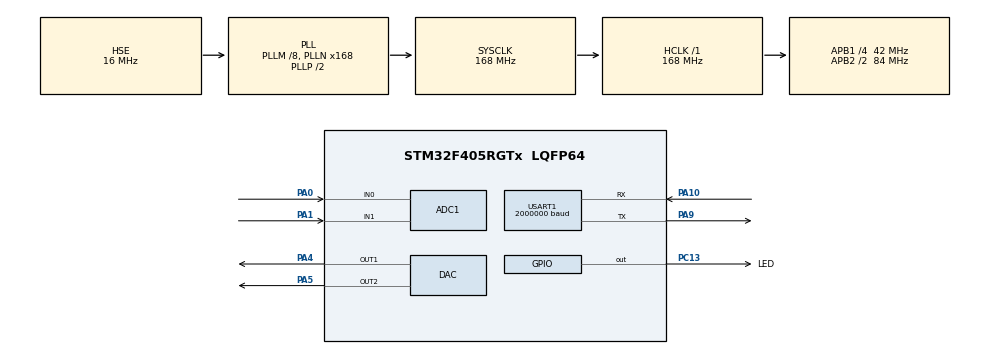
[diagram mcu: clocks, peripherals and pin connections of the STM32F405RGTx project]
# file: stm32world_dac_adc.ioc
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ADC1.Channel-0\#ChannelRegularConversion=ADC_CHANNEL_0
ADC1.ExternalTrigConv=ADC_EXTERNALTRIGCONV_T8_TRGO
ADC1.NbrOfConversionFlag=1
ADC1.Rank-0\#ChannelRegularConversion=1
ADC1.SamplingTime-0\#ChannelRegularConversion=ADC_SAMPLETIME_3CYCLES
ADC1.master=1
DAC.DAC_Trigger=DAC_TRIGGER_T8_TRGO
DAC.DAC_Trigger2=DAC_TRIGGER_T8_TRGO
Dma.ADC1.2.Direction=DMA_PERIPH_TO_MEMORY
Dma.ADC1.2.FIFOMode=DMA_FIFOMODE_DISABLE
Dma.ADC1.2.Instance=DMA2_Stream0
Dma.ADC1.2.MemDataAlignment=DMA_MDATAALIGN_HALFWORD
Dma.ADC1.2.MemInc=DMA_MINC_ENABLE
Dma.ADC1.2.Mode=DMA_CIRCULAR
Dma.ADC1.2.PeriphDataAlignment=DMA_PDATAALIGN_HALFWORD
Dma.ADC1.2.PeriphInc=DMA_PINC_DISABLE
Dma.ADC1.2.Priority=DMA_PRIORITY_LOW
Dma.DAC1.0.Direction=DMA_MEMORY_TO_PERIPH
Dma.DAC1.0.FIFOMode=DMA_FIFOMODE_DISABLE
Dma.DAC1.0.Instance=DMA1_Stream5
Dma.DAC1.0.MemDataAlignment=DMA_MDATAALIGN_HALFWORD
Dma.DAC1.0.MemInc=DMA_MINC_ENABLE
Dma.DAC1.0.Mode=DMA_CIRCULAR
Dma.DAC1.0.PeriphDataAlignment=DMA_PDATAALIGN_HALFWORD
Dma.DAC1.0.PeriphInc=DMA_PINC_DISABLE
Dma.DAC1.0.Priority=DMA_PRIORITY_LOW
Dma.DAC2.1.Direction=DMA_MEMORY_TO_PERIPH
Dma.DAC2.1.FIFOMode=DMA_FIFOMODE_DISABLE
Dma.DAC2.1.Instance=DMA1_Stream6
Dma.DAC2.1.MemDataAlignment=DMA_MDATAALIGN_HALFWORD
Dma.DAC2.1.MemInc=DMA_MINC_ENABLE
Dma.DAC2.1.Mode=DMA_CIRCULAR
Dma.DAC2.1.PeriphDataAlignment=DMA_PDATAALIGN_HALFWORD
Dma.DAC2.1.PeriphInc=DMA_PINC_DISABLE
Dma.DAC2.1.Priority=DMA_PRIORITY_LOW
Dma.Request0=DAC1
Dma.Request1=DAC2
Dma.Request2=ADC1
FREERTOS.Tasks01=defaultTask,24,128,StartDefaultTask,Default,NULL,Dynamic,NULL,NULL
FREERTOS.configGENERATE_RUN_TIME_STATS=1
FREERTOS.configTOTAL_HEAP_SIZE=65536
FREERTOS.configUSE_NEWLIB_REENTRANT=1
FREERTOS.configUSE_STATS_FORMATTING_FUNCTIONS=1
Mcu.Family=STM32F4
Mcu.Name=STM32F405RGTx
Mcu.Package=LQFP64
NVIC.DMA1_Stream5_IRQn=true\:5\:0\:false\:false\:true\:true\:false\:true\:true
NVIC.DMA1_Stream6_IRQn=true\:5\:0\:false\:false\:true\:true\:false\:true\:true
NVIC.DMA2_Stream0_IRQn=true\:5\:0\:false\:false\:true\:true\:false\:true\:true
NVIC.PriorityGroup=NVIC_PRIORITYGROUP_4
NVIC.TIM8_TRG_COM_TIM14_IRQn=true\:15\:0\:false\:false\:true\:false\:false\:true\:true
NVIC.TIM8_UP_TIM13_IRQn=true\:5\:0\:false\:false\:true\:true\:true\:true\:true
NVIC.TimeBase=TIM8_TRG_COM_TIM14_IRQn
NVIC.TimeBaseIP=TIM14
PA0-WKUP.Signal=ADCx_IN0
PA1.Signal=ADCx_IN1
PA10.Mode=Asynchronous
PA10.Signal=USART1_RX
PA13.Mode=Trace_Asynchronous_SW
PA13.Signal=SYS_JTMS-SWDIO
PA14.Mode=Trace_Asynchronous_SW
PA14.Signal=SYS_JTCK-SWCLK
PA4.Signal=COMP_DAC1_group
PA5.Signal=COMP_DAC2_group
PA9.Mode=Asynchronous
PA9.Signal=USART1_TX
PB3.Mode=Trace_Asynchronous_SW
PB3.Signal=SYS_JTDO-SWO
PC13-ANTI_TAMP.GPIO_Label=LED
PC13-ANTI_TAMP.GPIO_ModeDefaultOutputPP=GPIO_MODE_OUTPUT_OD
PC13-ANTI_TAMP.GPIO_PuPd=GPIO_NOPULL
PC13-ANTI_TAMP.PinState=GPIO_PIN_SET
PC13-ANTI_TAMP.Signal=GPIO_Output
PH0-OSC_IN.Mode=HSE-External-Oscillator
PH0-OSC_IN.Signal=RCC_OSC_IN
PH1-OSC_OUT.Mode=HSE-External-Oscillator
PH1-OSC_OUT.Signal=RCC_OSC_OUT
ProjectManager.HeapSize=0x200
ProjectManager.StackSize=0x400
ProjectManager.TargetToolchain=STM32CubeIDE
RCC.48MHZClocksFreq_Value=84000000
RCC.AHBFreq_Value=168000000
RCC.APB1CLKDivider=RCC_HCLK_DIV4
RCC.APB1Freq_Value=42000000
RCC.APB1TimFreq_Value=84000000
RCC.APB2CLKDivider=RCC_HCLK_DIV2
RCC.APB2Freq_Value=84000000
RCC.APB2TimFreq_Value=168000000
RCC.CortexFreq_Value=168000000
RCC.HCLKFreq_Value=168000000
RCC.HSE_VALUE=16000000
RCC.HSI_VALUE=16000000
RCC.LSE_VALUE=32768
RCC.PLLM=8
RCC.PLLN=168
RCC.PLLSourceVirtual=RCC_PLLSOURCE_HSE
RCC.SYSCLKFreq_VALUE=168000000
RCC.SYSCLKSource=RCC_SYSCLKSOURCE_PLLCLK
RCC.VCOOutputFreq_Value=336000000
SH.ADCx_IN0.0=ADC1_IN0,IN0
SH.ADCx_IN1.0=ADC1_IN1,IN1
SH.COMP_DAC1_group.0=DAC_OUT1,DAC_OUT1
SH.COMP_DAC2_group.0=DAC_OUT2,DAC_OUT2
TIM13.Period=10 - 1
TIM13.Prescaler=84 - 1
TIM8.Period=10 - 1
TIM8.Prescaler=84 - 1
TIM8.TIM_MasterOutputTrigger=TIM_TRGO_UPDATE
USART1.BaudRate=2000000
USART1.VirtualMode=VM_ASYNC
VP_FREERTOS_VS_CMSIS_V2.Mode=CMSIS_V2
VP_SYS_VS_tim14.Mode=TIM14
VP_TIM13_VS_ClockSourceINT.Mode=Enable_Timer
VP_TIM8_VS_ClockSourceINT.Mode=Internal
board=custom

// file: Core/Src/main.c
/* USER CODE BEGIN Header */
/**
 ******************************************************************************
 * @file           : main.c
 * @brief          : Main program body
 ******************************************************************************
 * @attention
 *
 * Copyright (c) 2024 Lars Boegild Thomsen <lth@stm32world.com>
 * All rights reserved.
 *
 * This software is licensed under terms that can be found in the LICENSE file
 * in the root directory of this software component.
 * If no LICENSE file comes with this software, it is provided AS-IS.
 *
 ******************************************************************************
 */
/* USER CODE END Header */
#include "main.h"
#include "cmsis_os.h"

/* USER CODE BEGIN Includes */
#include <stdio.h>
#include <math.h>
#include "printmutex.h"
#include "ledtask.h"
#include "ticktask.h"
#include "statustask.h"
/* USER CODE END Includes */

ADC_HandleTypeDef hadc1;
DMA_HandleTypeDef hdma_adc1;

DAC_HandleTypeDef hdac;
DMA_HandleTypeDef hdma_dac1;
DMA_HandleTypeDef hdma_dac2;

TIM_HandleTypeDef htim8;
TIM_HandleTypeDef htim13;

UART_HandleTypeDef huart1;

/* Definitions for defaultTask */
osThreadId_t defaultTaskHandle;
const osThreadAttr_t defaultTask_attributes = {
        .name = "defaultTask",
        .stack_size = 128 * 4,
        .priority = (osPriority_t) osPriorityNormal,
};
/* USER CODE BEGIN PV */

volatile unsigned long ulHighFrequencyTimerTicks;

#ifdef configAPPLICATION_ALLOCATED_HEAP
uint8_t ucHeap[configTOTAL_HEAP_SIZE] __attribute__((section(".ccmram")));
#endif

/* USER CODE END PV */

void SystemClock_Config(void);
static void MX_GPIO_Init(void);
static void MX_DMA_Init(void);
static void MX_DAC_Init(void);
static void MX_USART1_UART_Init(void);
static void MX_ADC1_Init(void);
static void MX_TIM8_Init(void);
static void MX_TIM13_Init(void);
void StartDefaultTask(void *argument);

/* USER CODE BEGIN 0 */

// Send printf to uart1
int _write(int fd, char *ptr, int len) {
    HAL_StatusTypeDef hstatus;

    if (fd == 1 || fd == 2) {
        hstatus = HAL_UART_Transmit(&huart1, (uint8_t*) ptr, len, HAL_MAX_DELAY);
        if (hstatus == HAL_OK)
            return len;
        else
            return -1;
    }
    return -1;
}

//void HAL_DAC_ConvHalfCpltCallbackCh1(DAC_HandleTypeDef *hdac) {
//    ++conv_half_ch1;
//    dacs[0].buffer = &dma_buffer_1[0];
//    uint32_t dac_addr = (uint32_t) &dacs[0];
//    osMessageQueuePut(sineQueueHandle, &dac_addr, 0, 0);
//}
//
//void HAL_DAC_ConvCpltCallbackCh1(DAC_HandleTypeDef *hdac) {
//    ++conv_ch1;
//    dacs[0].buffer = &dma_buffer_1[DMA_BUFFER_SIZE];
//    uint32_t dac_addr = (uint32_t) &dacs[0];
//    osMessageQueuePut(sineQueueHandle, &dac_addr, 0, 0);
//}
//
//void HAL_DACEx_ConvHalfCpltCallbackCh2(DAC_HandleTypeDef *hdac) {
//    ++conv_half_ch2;
//    dacs[1].buffer = &dma_buffer_2[0];
//    uint32_t dac_addr = (uint32_t) &dacs[1];
//    osMessageQueuePut(sineQueueHandle, &dac_addr, 0, 0);
//}
//
//void HAL_DACEx_ConvCpltCallbackCh2(DAC_HandleTypeDef *hdac) {
//    ++conv_ch2;
//    dacs[1].buffer = &dma_buffer_2[DMA_BUFFER_SIZE];
//    uint32_t dac_addr = (uint32_t) &dacs[1];
//    osMessageQueuePut(sineQueueHandle, &dac_addr, 0, 0);
//}

void configureTimerForRunTimeStats(void) {
    ulHighFrequencyTimerTicks = 0;
    HAL_TIM_Base_Start_IT(&htim13);
}

unsigned long getRunTimeCounterValue(void) {
    return ulHighFrequencyTimerTicks;
}

/* USER CODE END 0 */

int main(void)
{

    /* MCU Configuration--------------------------------------------------------*/

    /* Reset of all peripherals, Initializes the Flash interface and the Systick. */
    HAL_Init();

    /* Configure the system clock */
    SystemClock_Config();

    /* Initialize all configured peripherals */
    MX_GPIO_Init();
    MX_DMA_Init();
    MX_DAC_Init();
    MX_USART1_UART_Init();
    MX_ADC1_Init();
    MX_TIM8_Init();
    MX_TIM13_Init();
    /* USER CODE BEGIN 2 */

    printf("\n\n\n--------\nStarting\n");

    /* creation of printMutex */
    printMutexHandle = osMutexNew(&printMutex_attributes);

    /* creation of tickTask */
    tickTaskHandle = osThreadNew(StartTickTask, NULL, &tickTask_attributes);

    /* creation of ledTask */
    ledTaskHandle = osThreadNew(StartLedTask, NULL, &ledTask_attributes);

    /* creation of statusTask */
    statusTaskHandle = osThreadNew(StartStatusTask, NULL, &statusTask_attributes);

    /* USER CODE END 2 */

    /* Init scheduler */
    osKernelInitialize();

    /* Create the thread(s) */
    /* creation of defaultTask */
    defaultTaskHandle = osThreadNew(StartDefaultTask, NULL, &defaultTask_attributes);

    /* Start scheduler */
    osKernelStart();

    /* We should never get here as control is now taken by the scheduler */

    /* Infinite loop */
    while (1)
    {

    }
}

void SystemClock_Config(void)
{
    RCC_OscInitTypeDef RCC_OscInitStruct = { 0 };
    RCC_ClkInitTypeDef RCC_ClkInitStruct = { 0 };

    /** Configure the main internal regulator output voltage
     */
    __HAL_RCC_PWR_CLK_ENABLE();
    __HAL_PWR_VOLTAGESCALING_CONFIG(PWR_REGULATOR_VOLTAGE_SCALE1);

    /** Initializes the RCC Oscillators according to the specified parameters
     * in the RCC_OscInitTypeDef structure.
     */
    RCC_OscInitStruct.OscillatorType = RCC_OSCILLATORTYPE_HSE;
    RCC_OscInitStruct.HSEState = RCC_HSE_ON;
    RCC_OscInitStruct.PLL.PLLState = RCC_PLL_ON;
    RCC_OscInitStruct.PLL.PLLSource = RCC_PLLSOURCE_HSE;
    RCC_OscInitStruct.PLL.PLLM = 8;
    RCC_OscInitStruct.PLL.PLLN = 168;
    RCC_OscInitStruct.PLL.PLLP = RCC_PLLP_DIV2;
    RCC_OscInitStruct.PLL.PLLQ = 4;
    if (HAL_RCC_OscConfig(&RCC_OscInitStruct) != HAL_OK)
            {
        Error_Handler();
    }

    /** Initializes the CPU, AHB and APB buses clocks
     */
    RCC_ClkInitStruct.ClockType = RCC_CLOCKTYPE_HCLK | RCC_CLOCKTYPE_SYSCLK
            | RCC_CLOCKTYPE_PCLK1 | RCC_CLOCKTYPE_PCLK2;
    RCC_ClkInitStruct.SYSCLKSource = RCC_SYSCLKSOURCE_PLLCLK;
    RCC_ClkInitStruct.AHBCLKDivider = RCC_SYSCLK_DIV1;
    RCC_ClkInitStruct.APB1CLKDivider = RCC_HCLK_DIV4;
    RCC_ClkInitStruct.APB2CLKDivider = RCC_HCLK_DIV2;

    if (HAL_RCC_ClockConfig(&RCC_ClkInitStruct, FLASH_LATENCY_5) != HAL_OK)
            {
        Error_Handler();
    }
}

static void MX_ADC1_Init(void)
{

    ADC_ChannelConfTypeDef sConfig = { 0 };

    /** Configure the global features of the ADC (Clock, Resolution, Data Alignment and number of conversion)
     */
    hadc1.Instance = ADC1;
    hadc1.Init.ClockPrescaler = ADC_CLOCK_SYNC_PCLK_DIV4;
    hadc1.Init.Resolution = ADC_RESOLUTION_12B;
    hadc1.Init.ScanConvMode = DISABLE;
    hadc1.Init.ContinuousConvMode = DISABLE;
    hadc1.Init.DiscontinuousConvMode = DISABLE;
    hadc1.Init.ExternalTrigConvEdge = ADC_EXTERNALTRIGCONVEDGE_RISING;
    hadc1.Init.ExternalTrigConv = ADC_EXTERNALTRIGCONV_T8_TRGO;
    hadc1.Init.DataAlign = ADC_DATAALIGN_RIGHT;
    hadc1.Init.NbrOfConversion = 1;
    hadc1.Init.DMAContinuousRequests = DISABLE;
    hadc1.Init.EOCSelection = ADC_EOC_SINGLE_CONV;
    if (HAL_ADC_Init(&hadc1) != HAL_OK)
            {
        Error_Handler();
    }

    /** Configure for the selected ADC regular channel its corresponding rank in the sequencer and its sample time.
     */
    sConfig.Channel = ADC_CHANNEL_0;
    sConfig.Rank = 1;
    sConfig.SamplingTime = ADC_SAMPLETIME_3CYCLES;
    if (HAL_ADC_ConfigChannel(&hadc1, &sConfig) != HAL_OK)
            {
        Error_Handler();
    }

}

static void MX_DAC_Init(void)
{

    DAC_ChannelConfTypeDef sConfig = { 0 };

    /** DAC Initialization
     */
    hdac.Instance = DAC;
    if (HAL_DAC_Init(&hdac) != HAL_OK)
            {
        Error_Handler();
    }

    /** DAC channel OUT1 config
     */
    sConfig.DAC_Trigger = DAC_TRIGGER_T8_TRGO;
    sConfig.DAC_OutputBuffer = DAC_OUTPUTBUFFER_ENABLE;
    if (HAL_DAC_ConfigChannel(&hdac, &sConfig, DAC_CHANNEL_1) != HAL_OK)
            {
        Error_Handler();
    }

    /** DAC channel OUT2 config
     */
    if (HAL_DAC_ConfigChannel(&hdac, &sConfig, DAC_CHANNEL_2) != HAL_OK)
            {
        Error_Handler();
    }

}

static void MX_TIM8_Init(void)
{

    TIM_ClockConfigTypeDef sClockSourceConfig = { 0 };
    TIM_MasterConfigTypeDef sMasterConfig = { 0 };

    htim8.Instance = TIM8;
    htim8.Init.Prescaler = 84 - 1;
    htim8.Init.CounterMode = TIM_COUNTERMODE_UP;
    htim8.Init.Period = 10 - 1;
    htim8.Init.ClockDivision = TIM_CLOCKDIVISION_DIV1;
    htim8.Init.RepetitionCounter = 0;
    htim8.Init.AutoReloadPreload = TIM_AUTORELOAD_PRELOAD_DISABLE;
    if (HAL_TIM_Base_Init(&htim8) != HAL_OK)
            {
        Error_Handler();
    }
    sClockSourceConfig.ClockSource = TIM_CLOCKSOURCE_INTERNAL;
    if (HAL_TIM_ConfigClockSource(&htim8, &sClockSourceConfig) != HAL_OK)
            {
        Error_Handler();
    }
    sMasterConfig.MasterOutputTrigger = TIM_TRGO_UPDATE;
    sMasterConfig.MasterSlaveMode = TIM_MASTERSLAVEMODE_DISABLE;
    if (HAL_TIMEx_MasterConfigSynchronization(&htim8, &sMasterConfig) != HAL_OK)
            {
        Error_Handler();
    }

}

static void MX_TIM13_Init(void)
{

    htim13.Instance = TIM13;
    htim13.Init.Prescaler = 84 - 1;
    htim13.Init.CounterMode = TIM_COUNTERMODE_UP;
    htim13.Init.Period = 10 - 1;
    htim13.Init.ClockDivision = TIM_CLOCKDIVISION_DIV1;
    htim13.Init.AutoReloadPreload = TIM_AUTORELOAD_PRELOAD_DISABLE;
    if (HAL_TIM_Base_Init(&htim13) != HAL_OK)
            {
        Error_Handler();
    }

}

static void MX_USART1_UART_Init(void)
{

    huart1.Instance = USART1;
    huart1.Init.BaudRate = 2000000;
    huart1.Init.WordLength = UART_WORDLENGTH_8B;
    huart1.Init.StopBits = UART_STOPBITS_1;
    huart1.Init.Parity = UART_PARITY_NONE;
    huart1.Init.Mode = UART_MODE_TX_RX;
    huart1.Init.HwFlowCtl = UART_HWCONTROL_NONE;
    huart1.Init.OverSampling = UART_OVERSAMPLING_16;
    if (HAL_UART_Init(&huart1) != HAL_OK)
            {
        Error_Handler();
    }

}

static void MX_DMA_Init(void)
{

    /* DMA controller clock enable */
    __HAL_RCC_DMA1_CLK_ENABLE();
    __HAL_RCC_DMA2_CLK_ENABLE();

    /* DMA interrupt init */
    /* DMA1_Stream5_IRQn interrupt configuration */
    HAL_NVIC_SetPriority(DMA1_Stream5_IRQn, 5, 0);
    HAL_NVIC_EnableIRQ(DMA1_Stream5_IRQn);
    /* DMA1_Stream6_IRQn interrupt configuration */
    HAL_NVIC_SetPriority(DMA1_Stream6_IRQn, 5, 0);
    HAL_NVIC_EnableIRQ(DMA1_Stream6_IRQn);
    /* DMA2_Stream0_IRQn interrupt configuration */
    HAL_NVIC_SetPriority(DMA2_Stream0_IRQn, 5, 0);
    HAL_NVIC_EnableIRQ(DMA2_Stream0_IRQn);

}

static void MX_GPIO_Init(void)
{
    GPIO_InitTypeDef GPIO_InitStruct = { 0 };

    /* GPIO Ports Clock Enable */
    __HAL_RCC_GPIOC_CLK_ENABLE();
    __HAL_RCC_GPIOH_CLK_ENABLE();
    __HAL_RCC_GPIOA_CLK_ENABLE();
    __HAL_RCC_GPIOB_CLK_ENABLE();

    /*Configure GPIO pin Output Level */
    HAL_GPIO_WritePin(LED_GPIO_Port, LED_Pin, GPIO_PIN_SET);

    /*Configure GPIO pin : LED_Pin */
    GPIO_InitStruct.Pin = LED_Pin;
    GPIO_InitStruct.Mode = GPIO_MODE_OUTPUT_OD;
    GPIO_InitStruct.Pull = GPIO_NOPULL;
    GPIO_InitStruct.Speed = GPIO_SPEED_FREQ_LOW;
    HAL_GPIO_Init(LED_GPIO_Port, &GPIO_InitStruct);

}

void StartDefaultTask(void *argument)
{
    for (;;)
            {
        osDelay(1);
    }
}

void HAL_TIM_PeriodElapsedCallback(TIM_HandleTypeDef *htim)
{
    if (htim->Instance == TIM14)
    {
        HAL_IncTick();
    }
}

void Error_Handler(void)
{
    __disable_irq();
    while (1)
    {
    }
}
